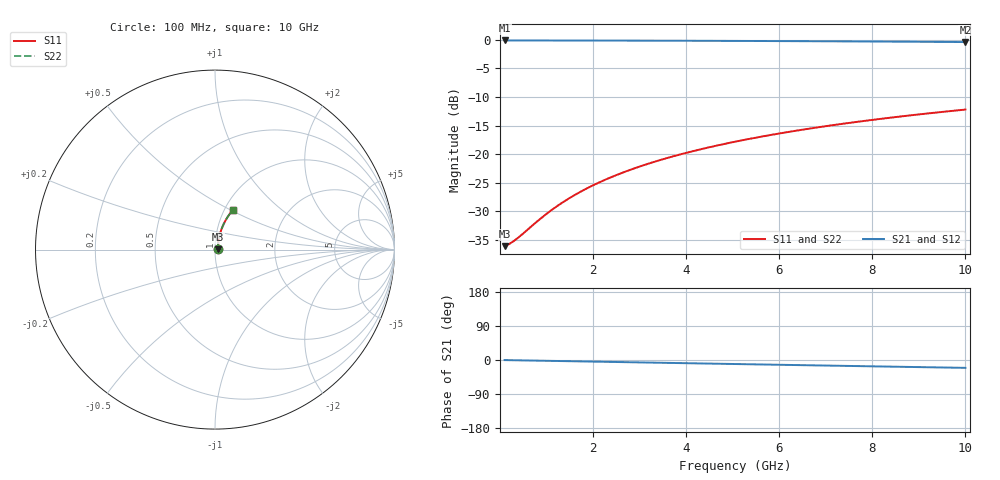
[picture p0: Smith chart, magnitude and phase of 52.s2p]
# Hz S RI R 50.00
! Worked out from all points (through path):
!   100 points, 100 MHz to 10 GHz, reference 50 ohm
!   highest |S21| = -0.14 dB at 100 MHz (marker M1); lowest = -0.4 dB at 10 GHz (marker M2)
!   group delay of S21, straight-line fit = 5.77 ps
!   lowest |S11| = -36.1 dB at 100 MHz (marker M3), VSWR 1.03, Z = 51.6 + j0.257 ohm
!   |S11| at or under -10 dB: start of sweep to end of sweep
!   |S22| runs from -36.1 to -12.2 dB; largest |S21 - S12| = 0
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1e8  0.0155 0.00249  0.9845 -0.00363  0.9845 -0.00363  0.0155 0.00249
2e8  0.0156 0.00499  0.9844 -0.00727  0.9844 -0.00727  0.0156 0.00499
3e8  0.0158 0.00748  0.9842 -0.0109  0.9842 -0.0109  0.0158 0.00748
4e8  0.0159 0.00997  0.9841 -0.0145  0.9841 -0.0145  0.0159 0.00997
9e8  0.0167 0.0224  0.9832 -0.0327  0.9832 -0.0327  0.0167 0.0224
1.2e9  0.0174 0.0298  0.9825 -0.0435  0.9825 -0.0435  0.0174 0.0298
1.5e9  0.0182 0.0373  0.9817 -0.0544  0.9817 -0.0544  0.0182 0.0373
1.8e9  0.0191 0.0447  0.9806 -0.0652  0.9806 -0.0652  0.0191 0.0447
2.1e9  0.0203 0.052  0.9794 -0.076  0.9794 -0.076  0.0203 0.052
2.5e9  0.022 0.0618  0.9775 -0.0903  0.9775 -0.0903  0.022 0.0618
2.9e9  0.0241 0.0715  0.9754 -0.1046  0.9754 -0.1046  0.0241 0.0715
3.4e9  0.027 0.0835  0.9722 -0.1223  0.9722 -0.1223  0.027 0.0835
3.8e9  0.0296 0.0931  0.9694 -0.1364  0.9694 -0.1364  0.0296 0.0931
4.2e9  0.0325 0.1025  0.9663 -0.1504  0.9663 -0.1504  0.0325 0.1025
4.6e9  0.0357 0.1118  0.9628 -0.1643  0.9628 -0.1643  0.0357 0.1118
5.1e9  0.0401 0.1233  0.9582 -0.1815  0.9582 -0.1815  0.0401 0.1233
5.9e9  0.0478 0.1412  0.9498 -0.2086  0.9498 -0.2086  0.0478 0.1412
6.7e9  0.0566 0.1586  0.9404 -0.2351  0.9404 -0.2351  0.0566 0.1586
7.5e9  0.0663 0.1753  0.9299 -0.261  0.9299 -0.261  0.0663 0.1753
8.4e9  0.0782 0.1933  0.9171 -0.2894  0.9171 -0.2894  0.0782 0.1933
9.2e9  0.0897 0.2085  0.9046 -0.3138  0.9046 -0.3138  0.0897 0.2085
1e10  0.1019 0.2229  0.8914 -0.3375  0.8914 -0.3375  0.1019 0.2229
